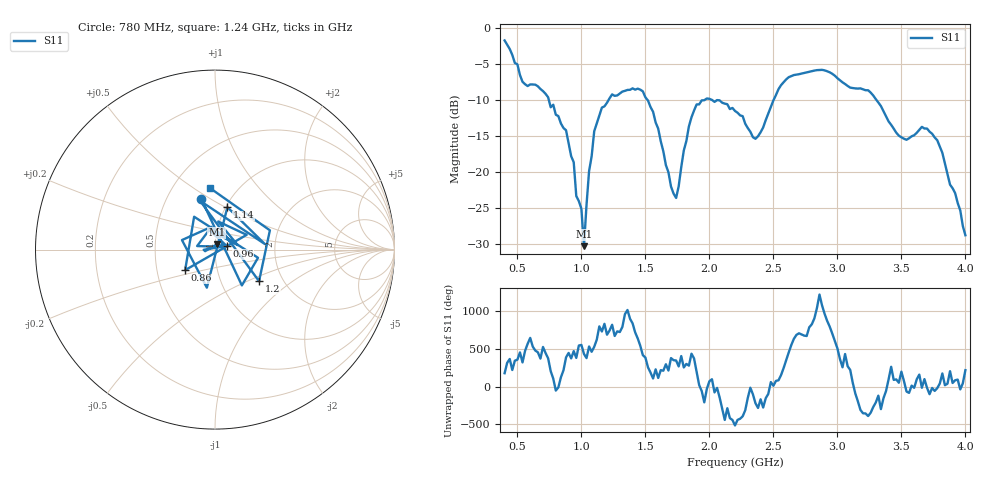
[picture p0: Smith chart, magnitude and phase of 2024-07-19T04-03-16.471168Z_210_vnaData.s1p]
!Created with skrf (http://scikit-rf.org).
# Hz S RI R 50.0
!freq ReS11 ImS11
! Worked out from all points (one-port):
!   181 points, 400 MHz to 4 GHz, reference 50 ohm
!   lowest |S11| = -30.3 dB at 1.02 GHz (marker M1), VSWR 1.06, Z = 51 + j2.95 ohm
!   |S11| at or under -10 dB: 745.1 MHz to 1.213 GHz (467.9 MHz wide, 47.8 % of centre); 2.018 GHz to 2.502 GHz (484.2 MHz wide, 21.4 % of centre); 3.304 GHz to end of sweep (the widest 3 of 4)
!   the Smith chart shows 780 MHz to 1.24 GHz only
!   S11 on the Smith chart (normalised r, x): 780 MHz: 0.74, +0.46; 860 MHz: 0.70, -0.17; 960 MHz: 1.14, +0.05; 1.14 GHz: 1.02, +0.51; 1.2 GHz: 1.51, -0.59; 1.24 GHz: 0.75, +0.58
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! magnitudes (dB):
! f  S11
! 400 MHz  -1.8
! 540 MHz  -7.5
! 780 MHz  -10.7
! 860 MHz  -13.9
! 940 MHz  -18.6
! 960 MHz  -23.3
! 1 GHz  -25.1
! 1.02 GHz  -30.3
! 1.06 GHz  -19.9
! 1.14 GHz  -12.2
! 1.2 GHz  -10.4
! 1.24 GHz  -9.2
! 1.3 GHz  -9.1
! 1.48 GHz  -8.8
! 1.6 GHz  -14.0
! 1.72 GHz  -23.0
! 1.76 GHz  -22.0
! 1.84 GHz  -13.7
! 1.9 GHz  -10.6
! 2.2 GHz  -11.5
! 2.36 GHz  -15.4
! 2.66 GHz  -6.6
! 3.1 GHz  -8.3
! 3.24 GHz  -8.7
! 3.56 GHz  -15.3
! 3.66 GHz  -13.7
! 3.78 GHz  -15.6
! 4 GHz  -28.7
